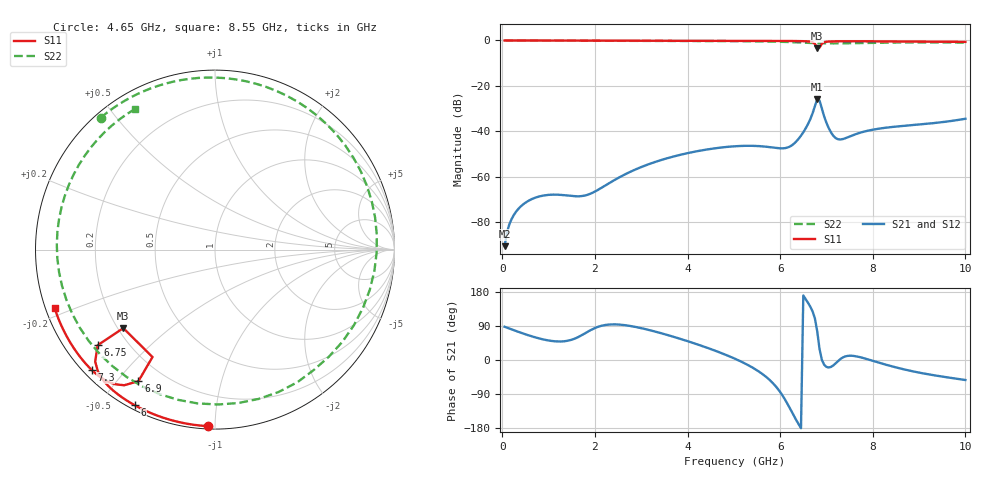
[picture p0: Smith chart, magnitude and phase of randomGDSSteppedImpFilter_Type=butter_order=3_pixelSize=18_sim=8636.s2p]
! freq	dB(S11)	phase(S11)	dB(S12)	phase(S12)
!  dB(S21)	phase(S21)	dB(S22)	phase(S22)
!S-par simulation data
#  GHz  S  DB  R 50
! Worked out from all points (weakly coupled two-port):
!   200 points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, 50 MHz to 10 GHz, reference 50 ohm
!   highest |S21| = -25.88 dB at 6.8 GHz (marker M1); lowest = -90.6 dB at 50 MHz (marker M2)
!   lowest |S11| = -3.4 dB at 6.8 GHz (marker M3), VSWR 5.11, Z = 11.1 - j17.7 ohm
!   |S11| at or under -10 dB: nowhere
!   |S22| runs from -1.3 to 0.0 dB; largest |S21 - S12| = 0
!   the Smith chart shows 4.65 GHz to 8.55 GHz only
!   S11 on the Smith chart (normalised r, x): 4.65 GHz: 0.02, -0.96; 6 GHz: 0.02, -0.61; 6.75 GHz: 0.10, -0.35; 6.9 GHz: 0.11, -0.57; 7.3 GHz: 0.02, -0.41; 8.55 GHz: 0.03, -0.18
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0.05  -0.00 -1.1  -90.62 87.7  -90.62 87.7  -0.00 -3.6
0.9  -0.02 -18.9  -68.28 53.9  -68.28 53.9  -0.08 -61.8
1.75  -0.05 -36.5  -68.45 67.9  -68.45 67.9  -0.11 -109.6
2.55  -0.07 -52.5  -60.04 93.2  -60.04 93.2  -0.14 -145.8
3.4  -0.09 -69.0  -52.87 71.7  -52.87 71.7  -0.16 -179.2
4.65  -0.14 -92.4  -47.35 22.1  -47.35 22.1  -0.24 130.9
5.05  -0.15 -99.7  -46.57 1.9  -46.57 1.9  -0.29 111.9
5.6  -0.18 -109.8  -46.62 -35.5  -46.62 -35.5  -0.41 79.7
6  -0.21 -117.3  -47.52 -84.5  -47.52 -84.5  -0.58 48.1
6.35  -0.26 -124.5  -44.45 -159.1  -44.45 -159.1  -0.82 11.3
6.7  -0.78 -136.9  -32.11 128.4  -32.11 128.4  -1.15 -35.9
6.75  -1.47 -140.8  -28.94 109.9  -28.94 109.9  -1.20 -43.3
6.8  -3.44 -139.4  -25.88 76.1  -25.88 76.1  -1.23 -50.6
6.85  -3.19 -120.2  -26.43 29.5  -26.43 29.5  -1.21 -58.1
6.9  -1.43 -120.2  -30.03 0.7  -30.03 0.7  -1.22 -66.0
7.1  -0.43 -130.5  -40.57 -18.2  -40.57 -18.2  -1.29 -96.5
7.3  -0.36 -135.7  -43.63 2.5  -43.63 2.5  -1.27 -124.8
7.75  -0.36 -144.9  -40.50 6.7  -40.50 6.7  -1.11 -177.0
8.35  -0.41 -156.2  -38.27 -14.6  -38.27 -14.6  -0.94 133.4
8.55  -0.44 -159.9  -37.84 -21.1  -37.84 -21.1  -0.90 119.8
9.25  -0.52 -173.3  -36.54 -38.8  -36.54 -38.8  -0.86 77.5
10  -0.63 171.4  -34.48 -52.9  -34.48 -52.9  -0.94 35.6
